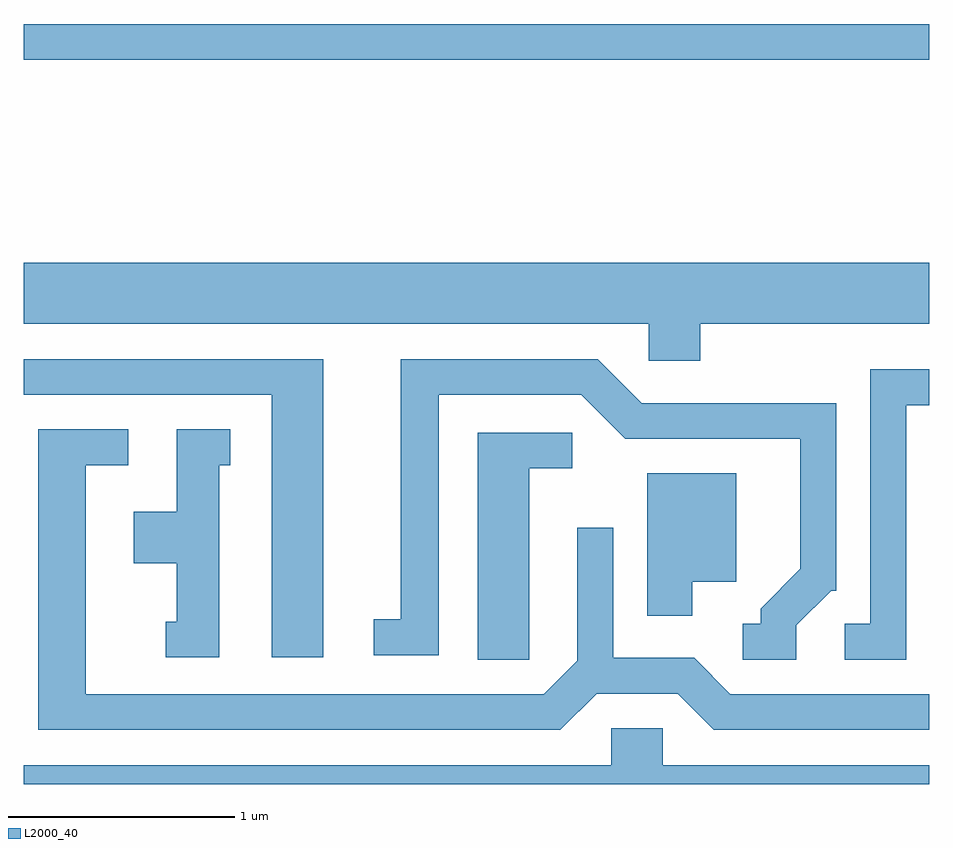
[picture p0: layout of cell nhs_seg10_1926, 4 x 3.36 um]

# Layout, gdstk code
import gdstk
lib = gdstk.Library(unit=1e-6, precision=1e-09)
def R(c, l, rs):  # rectangles x0, y0, x1, y1
    for r in rs: c.add(gdstk.rectangle(r[:2], r[2:], *l))
def P(c, l, *ps):  # polygons
    for p in ps: c.add(gdstk.Polygon(p, *l))
L2000_40 = (2000, 40)

nhs_seg10_1926 = lib.new_cell('nhs_seg10_1926')
R(nhs_seg10_1926, L2000_40, [(241.611,2141.721,245.611,2141.879)])
P(nhs_seg10_1926, L2000_40, [(244.599,2140.556),(245.611,2140.556),(245.611,2140.824),(241.611,2140.824),(241.611,2140.556),(244.371,2140.556),(244.371,2140.391),(244.599,2140.391)],
  [(242.934,2140.399),(241.611,2140.399),(241.611,2140.241),(242.706,2140.241),(242.706,2139.081),(242.934,2139.081)],
  [(245.024,2139.224),(245.177,2139.376),(245.199,2139.376),(245.199,2140.204),(244.342,2140.204),(244.147,2140.399),(243.276,2140.399),(243.276,2139.249),(243.158,2139.249),(243.158,2139.091),(243.444,2139.091),(243.444,2140.241),(244.074,2140.241),(244.269,2140.046),(245.041,2140.046),(245.041,2139.472),(244.866,2139.297),(244.866,2139.229),(244.788,2139.229),(244.788,2139.071),(245.024,2139.071)],
  [(245.509,2140.196),(245.611,2140.196),(245.611,2140.354),(245.351,2140.354),(245.351,2139.229),(245.238,2139.229),(245.238,2139.071),(245.509,2139.071)],
  [(242.474,2139.931),(242.523,2139.931),(242.523,2140.089),(242.286,2140.089),(242.286,2139.724),(242.096,2139.724),(242.096,2139.496),(242.286,2139.496),(242.286,2139.239),(242.238,2139.239),(242.238,2139.081),(242.474,2139.081)],
  [(244.142,2138.921),(244.499,2138.921),(244.659,2138.761),(245.611,2138.761),(245.611,2138.919),(244.732,2138.919),(244.572,2139.079),(244.214,2139.079),(244.214,2139.653),(244.056,2139.653),(244.056,2139.067),(243.909,2138.919),(241.884,2138.919),(241.884,2139.931),(242.073,2139.931),(242.073,2140.089),(241.676,2140.089),(241.676,2138.761),(243.982,2138.761)],
  [(243.844,2139.916),(244.033,2139.916),(244.033,2140.074),(243.616,2140.074),(243.616,2139.071),(243.844,2139.071)],
  [(244.564,2139.416),(244.759,2139.416),(244.759,2139.894),(244.366,2139.894),(244.366,2139.266),(244.564,2139.266)],
  [(245.611,2138.604),(244.434,2138.604),(244.434,2138.769),(244.206,2138.769),(244.206,2138.604),(241.611,2138.604),(241.611,2138.522),(245.611,2138.522)])

lib.write_gds('nhs_seg10_1926.gds')
